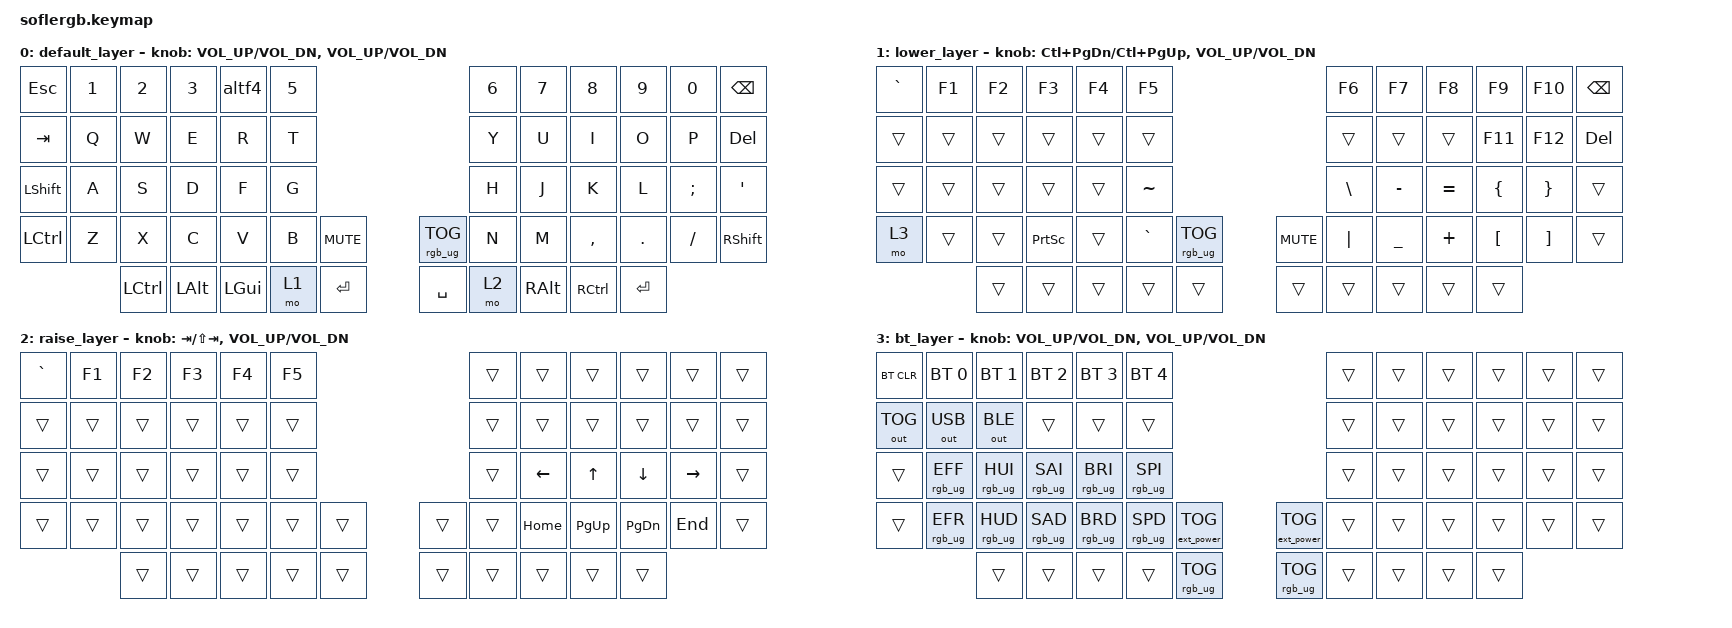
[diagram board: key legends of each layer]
/*
 * Copyright (c) 2020 The ZMK Contributors
 *
 * SPDX-License-Identifier: MIT
 */

#include <behaviors.dtsi>
#include <dt-bindings/zmk/keys.h>
#include <dt-bindings/zmk/bt.h>
#include <dt-bindings/zmk/outputs.h>
#include <dt-bindings/zmk/rgb.h>
#include <dt-bindings/zmk/ext_power.h>

/*
 * Temporarily here because nice nano v2 spi is not defined on ZMk Yet
 * Source: https://github.com/zmkfirmware/zmk/blob/main/app/boards/shields/reviung41/boards/nice_nano.overlay
 * GitHub Issue: https://github.com/zmkfirmware/zmk/issues/885
 */

#include <dt-bindings/led/led.h>
&spi1 {
	compatible = "nordic,nrf-spim";
	status = "okay";
	mosi-pin = <6>;
	// Unused pins, needed for SPI definition, but not used by the ws2812 driver itself.
	sck-pin = <5>;
	miso-pin = <7>;

	led_strip: ws2812@0 {
		compatible = "worldsemi,ws2812-spi";
		label = "WS2812";

		/* SPI */
		reg = <0>; /* ignored, but necessary for SPI bindings */
		spi-max-frequency = <4000000>;

		/* WS2812 */
		chain-length = <37>;
		spi-one-frame = <0x70>;
		spi-zero-frame = <0x40>;
		color-mapping = <LED_COLOR_ID_GREEN LED_COLOR_ID_RED LED_COLOR_ID_BLUE>;
	};
};

/ {
	chosen {
		zmk,underglow = &led_strip;
	};
};

/* END temporary RGB support section */

&kscan0 {
    debounce-period = <10>;
};

/ {
    behaviors {
        altf4: alt_f4 {
            compatible = "zmk,behavior-mod-morph";
            label = "ALT_F4";
            #binding-cells = <0>;
            bindings = <&kp N4>, <&kp LA(F4)>;
            mods = <(MOD_LALT)>;
        };
    };

    keymap {
        compatible = "zmk,keymap";

        default_layer {
// --------------------------------------------------------------------------------------------------------------------------------------
// |  ESC  |  1  |  2  |  3   |  4   |  5   |                                      |  6   |  7     |  8       |  9     |   0    | BKSPC |
// |  TAB  |  Q  |  W  |  E   |  R   |  T   |                                      |  Y   |  U     |  I       |  O     |   P    |  DEL  |
// | SHIFT |  A  |  S  |  D   |  F   |  G   |                                      |  H   |  J     |  K       |  L     |   ;    |   '   |
// | CTRL  |  Z  |  X  |  C   |  V   |  B   |  MUTE |                    | RGBTOG  |  N   |  M     |  ,       |  .     |   /    | SHIFT |
//               |CTRL | ALT  | GUI  | LOWER| ENTER |                    | SPACE   | RAISE| CTRL   | ALT      | GUI    |
            bindings = <
&kp ESC   &kp N1 &kp N2    &kp N3   &altf4    &kp N5                                     &kp N6 &kp N7    &kp N8    &kp N9   &kp N0   &kp BSPC
&kp TAB   &kp Q  &kp W     &kp E    &kp R     &kp T                                      &kp Y  &kp U     &kp I     &kp O    &kp P    &kp DEL
&kp LSHFT &kp A  &kp S     &kp D    &kp F     &kp G                                      &kp H  &kp J     &kp K     &kp L    &kp SEMI &kp SQT
&kp LCTRL &kp Z  &kp X     &kp C    &kp V     &kp B  &kp C_MUTE          &rgb_ug RGB_TOG &kp N  &kp M     &kp COMMA &kp DOT  &kp FSLH &kp RSHFT
                 &kp LCTRL &kp LALT &kp LGUI  &mo 1  &kp RET             &kp SPACE       &mo 2  &kp RALT  &kp RCTL  &kp ENTER
            >;

            sensor-bindings = <&inc_dec_kp C_VOL_UP C_VOL_DN &inc_dec_kp C_VOL_UP C_VOL_DN>;
        };

        lower_layer {
// ----------------------------------------------------------------------------------------------------------------------------------------------------
// | `     |  F1 |  F2 |  F3  |  F4  |  F5  |                                        |  F6     |  F7      |  F8    |  F9     |  F10     | BSPC  |
// |       |     |     |      |      |      |                                        |         |          |        |  F11    |  F12     |  DEL  |
// |       |     |     |      |      |  ~   |                                        |  \      |   -      |  =     |  {      |   }      |       |
// |BTLAYER|     |     |      |      |  `   | RGBTOG |                     | MUTE    |  |      |   _      |  +     |  [      |   ]      |       |
//               |     |      |      |      |        |                     |         |         |          |        |         |
               bindings = <
&kp GRAVE &kp F1  &kp F2  &kp F3     &kp F4  &kp F5                                   &kp F6    &kp F7     &kp F8     &kp F9    &kp F10   &kp BSPC
&trans    &trans  &trans  &trans     &trans  &trans                                   &trans    &trans     &trans     &kp F11   &kp F12   &kp DEL
&trans    &trans  &trans  &trans     &trans  &kp TILDE                                &kp BSLH  &kp MINUS  &kp EQUAL  &kp LBRC  &kp RBRC  &trans  
&mo 3     &trans  &trans  &kp PSCRN  &trans  &kp GRAVE  &rgb_ug RGB_TOG   &kp C_MUTE  &kp PIPE  &kp UNDER  &kp PLUS   &kp LBKT  &kp RBKT  &trans
                  &trans  &trans     &trans  &trans     &trans            &trans      &trans    &trans     &trans     &trans
            >;

            sensor-bindings = <&inc_dec_kp LC(PG_DN) LC(PG_UP) &inc_dec_kp C_VOL_UP C_VOL_DN>;
        };

        raise_layer {
// ----------------------------------------------------------------------------------------------------------------------------
// | `     |  F1 |  F2 |  F3  |  F4  |  F5  |                                   |      |       |       |      |       |       |
// |       |     |     |      |      |      |                                   |      |       |       |      |       |       |
// |       |     |     |      |      |      |                                   |      |   <-  |   ^   |   v  |   ->  |       |
// |       |     |     |      |      |      |      |                     |      |      | Home  | PgUp  | PgDn |  End  |       |
//                     |      |      |      |      |      |       |      |      |      |       |       |
            bindings = <
&kp GRAVE &kp F1    &kp F2    &kp F3      &kp F4    &kp F5                                   &trans    &trans    &trans    &trans    &trans    &trans
&trans    &trans    &trans    &trans      &trans    &trans                                   &trans    &trans    &trans    &trans    &trans    &trans
&trans    &trans    &trans    &trans      &trans    &trans                                   &trans    &kp LEFT  &kp UP    &kp DOWN  &kp RIGHT &trans
&trans    &trans    &trans    &trans      &trans    &trans    &trans                 &trans  &trans    &kp HOME  &kp PG_UP &kp PG_DN &kp END   &trans
                    &trans    &trans      &trans    &trans    &trans                 &trans  &trans    &trans    &trans    &trans
            >;

            sensor-bindings = <&inc_dec_kp TAB LS(TAB) &inc_dec_kp C_VOL_UP C_VOL_DN>;
        };

        bt_layer {
// --------------------------------------------------------------------------------------------------------------------------------------
// |BTCLR | BT0      | BT1     |  BT2    |  BT3    |  BT4    |                              |      |      |       |      |       |       |
// |OUTTOG|          |         |         |         |         |                              |      |      |       |      |       |       |
// |      | RGB_EFF  | RGB_HUI | RGB_SAI | RGB_BRI | RGB_SPI |                              |      |      |       |      |       |       |
// |      | RGB_EFR  | RGB_HUD | RGB_SAD | RGB_BRD | RGB_SPD |ExtPwr|                |ExtPwr|      |      |       |      |       |       |
//                   |         |         |         |         |RGBTog|                |RGBTog|      |      |       |      |
            bindings = <
&bt BT_CLR   &bt BT_SEL 0     &bt BT_SEL 1    &bt BT_SEL 2    &bt BT_SEL 3    &bt BT_SEL 4                                               &trans    &trans    &trans    &trans    &trans    &trans
&out OUT_TOG &out OUT_USB     &out OUT_BLE    &trans          &trans          &trans                                                     &trans    &trans    &trans    &trans    &trans    &trans
&trans       &rgb_ug RGB_EFF  &rgb_ug RGB_HUI &rgb_ug RGB_SAI &rgb_ug RGB_BRI &rgb_ug RGB_SPI                                            &trans    &trans    &trans    &trans    &trans    &trans
&trans       &rgb_ug RGB_EFR  &rgb_ug RGB_HUD &rgb_ug RGB_SAD &rgb_ug RGB_BRD &rgb_ug RGB_SPD  &ext_power EP_TOG      &ext_power EP_TOG  &trans    &trans    &trans    &trans    &trans    &trans
                              &trans          &trans          &trans          &trans           &rgb_ug RGB_TOG        &rgb_ug RGB_TOG    &trans    &trans    &trans    &trans
            >;

            sensor-bindings = <&inc_dec_kp C_VOL_UP C_VOL_DN &inc_dec_kp C_VOL_UP C_VOL_DN>;
        };
    };
};
